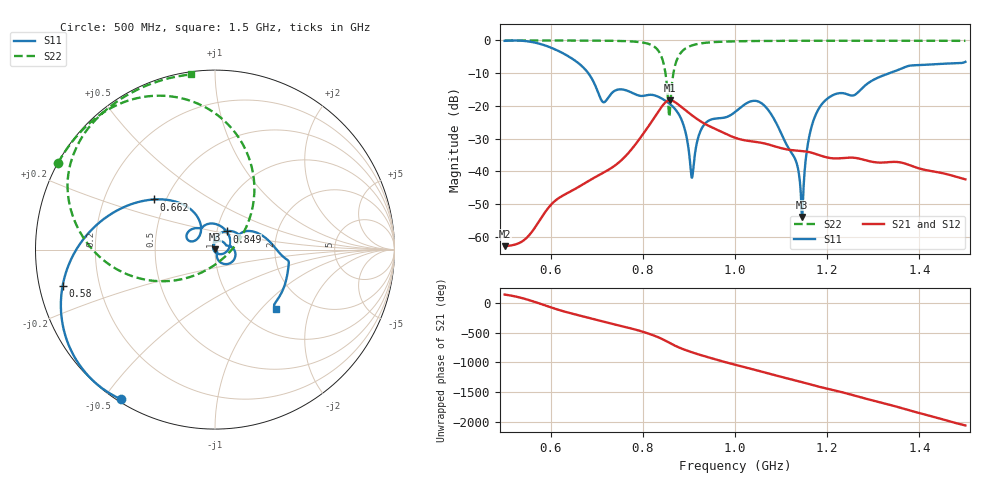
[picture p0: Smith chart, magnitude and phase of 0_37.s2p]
! TOUCHSTONE file generated by CST MICROWAVE STUDIO
! Date and time: Sat Oct 24 11:17:10 2020
! Project name: Scenario_1_Circular_Tissue_in_Line.cst
! Parameters = {L_HA=400; MT=2.54; Rad_Dielectric=30; Rad_Lower=7.3; Rad_Upper=30; a_HA=580; a_WG=246; b_HA=500; b_WG=121; c_HA=0; c_WG=187; d_feed=85; dx1=796.52; h_feed=15; h_lower=18; h_upper=40}
! Header version: 2018
! Port assignment regex: !\s*Touchstone port\s*([0-9]+)\s*=\s*(CST MWS port|CST DS port)\s*([0-9]+|Zmin|Zmax)\s*\(\"(.*)\"\)(\s*mode\s*([0-9]+))?.*
! Touchstone port assignment:
! Touchstone port 1 = CST MWS port 1 ("")
! Touchstone port 2 = CST MWS port 2 ("")
# GHz S DB R 50
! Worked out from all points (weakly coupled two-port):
!   1003 points, 500 MHz to 1.5 GHz, reference 50 ohm
!   highest |S21| = -18.28 dB at 859 MHz (marker M1); lowest = -62.8 dB at 500 MHz (marker M2)
!   lowest |S11| = -53.9 dB at 1.146 GHz (marker M3), VSWR 1.00, Z = 50.1 + j0.152 ohm
!   |S11| at or under -10 dB: 681.6 MHz to 1.335 GHz (653.4 MHz wide, 64.8 % of centre)
!   |S22| runs from -23.3 to 0.0 dB; largest |S21 - S12| = 8.3e-06
!   S11 on the Smith chart (normalised r, x): 500 MHz: 0.01, -0.55; 580 MHz: 0.07, -0.12; 662 MHz: 0.43, +0.30; 849 MHz: 1.11, +0.23; 1.5 GHz: 1.42, -1.20
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0.5  -0.13 -122.3  -62.79 137.6  -62.79 137.6  -0.01 151.1
0.58  -1.18 -166.6  -54.07 -23.1  -54.06 -23.1  -0.02 145.6
0.662  -7.14 140.5  -44.60 146.8  -44.59 146.8  -0.04 138.8
0.667  -7.75 136.9  -44.18 136.8  -44.18 136.8  -0.04 138.3
0.714  -18.84 140.8  -40.39 42.0  -40.39 42.0  -0.08 133.1
0.79  -16.78 124.9  -30.59 -103.9  -30.59 -103.9  -0.47 116.9
0.834  -17.22 81.0  -21.63 139.1  -21.63 139.1  -3.21 83.0
0.849  -18.41 57.6  -18.92 83.6  -18.92 83.6  -9.96 48.6
0.859  -19.43 40.3  -18.28 41.9  -18.28 41.9  -20.94 -94.7
0.875  -21.88 7.7  -19.34 -19.1  -19.34 -19.1  -5.54 -166.1
0.891  -27.11 -34.5  -21.13 -69.2  -21.13 -69.2  -2.61 174.4
0.907  -41.91 -164.0  -22.90 -112.9  -22.90 -112.9  -1.51 163.7
0.933  -25.71 66.9  -25.33 -175.2  -25.33 -175.2  -0.76 153.3
1  -21.86 15.0  -29.70 40.3  -29.70 40.3  -0.27 140.2
1.07  -20.86 -60.3  -31.66 -102.3  -31.66 -102.3  -0.15 132.4
1.13  -36.04 -45.7  -33.57 139.0  -33.57 139.0  -0.11 127.1
1.146  -53.92 48.8  -33.75 106.5  -33.75 106.5  -0.10 125.8
1.157  -32.57 106.3  -33.97 83.2  -33.97 83.2  -0.10 124.9
1.167  -25.90 94.4  -34.30 62.0  -34.30 62.0  -0.10 124.1
1.205  -17.30 49.0  -35.86 -11.2  -35.86 -11.2  -0.09 121.2
1.334  -10.05 6.7  -37.14 92.2  -37.14 92.2  -0.09 111.4
1.5  -6.52 -44.2  -42.40 100.7  -42.39 100.7  -0.13 97.8
